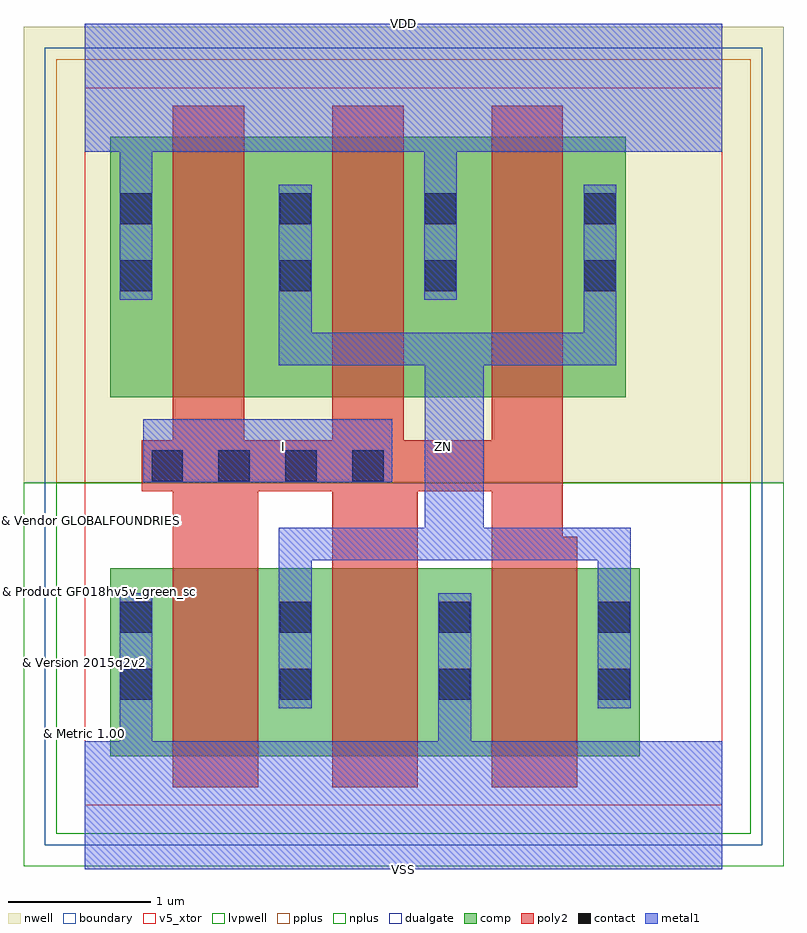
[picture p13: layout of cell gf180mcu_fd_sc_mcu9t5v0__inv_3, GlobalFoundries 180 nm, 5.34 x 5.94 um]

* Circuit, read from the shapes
.subckt gf180mcu_fd_sc_mcu9t5v0__inv_3 I VDD VSS ZN
XM1 ZN I VSS VSUBS nfet_05v0 w=1.32u l=0.6u m=3
XM2 ZN I VDD n1 pfet_05v0 w=1.83u l=0.5u m=3
.ends

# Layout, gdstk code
import gdstk
lib = gdstk.Library(unit=1e-6, precision=1e-09)
def R(c, l, rs):  # rectangles x0, y0, x1, y1
    for r in rs: c.add(gdstk.rectangle(r[:2], r[2:], *l))
def A(c, l, x, y, w, h, nx, ny, dx, dy):  # array of equal rectangles
    R(c, l, [(x+i*dx, y+j*dy, x+i*dx+w, y+j*dy+h) for i in range(nx) for j in range(ny)])
def P(c, l, *ps):  # polygons
    for p in ps: c.add(gdstk.Polygon(p, *l))
boundary = (0, 0)
nwell = (21, 0)
comp = (22, 0)
poly2 = (30, 0)
pplus = (31, 0)
nplus = (32, 0)
contact = (33, 0)
metal1 = (34, 0)
dualgate = (55, 0)
v5_xtor = (112, 1)
lvpwell = (204, 0)

gf180mcu_fd_sc_mcu9t5v0_ = lib.new_cell('gf180mcu_fd_sc_mcu9t5v0__inv_3')
R(gf180mcu_fd_sc_mcu9t5v0_, boundary, [(0,0,4.48,5.04)])
R(gf180mcu_fd_sc_mcu9t5v0_, nwell, [(-0.43,2.265,4.91,5.47)])
R(gf180mcu_fd_sc_mcu9t5v0_, comp, [(0.18,0.345,3.9,1.665), (0.18,2.865,3.8,4.695)])
P(gf180mcu_fd_sc_mcu9t5v0_, poly2, [(0.62,0.125),(0.62,2.205),(0.4,2.205),(0.4,2.565),(0.62,2.565),(0.62,4.915),(1.12,4.915),(1.12,2.565),(1.74,2.565),(1.74,4.915),(2.24,4.915),(2.24,2.565),(2.86,2.565),(2.86,4.915),(3.36,4.915),(3.36,1.885),(3.46,1.885),(3.46,0.125),(2.86,0.125),(2.86,2.205),(2.34,2.205),(2.34,0.125),(1.74,0.125),(1.74,2.205),(1.22,2.205),(1.22,0.125)])
R(gf180mcu_fd_sc_mcu9t5v0_, pplus, [(-0.2,2.265,4.68,5.24)])
R(gf180mcu_fd_sc_mcu9t5v0_, nplus, [(-0.2,-0.2,4.68,2.265)])
A(gf180mcu_fd_sc_mcu9t5v0_, contact, 0.25, 0.74, 0.22, 0.22, 4, 2, 1.12, 0.47)
A(gf180mcu_fd_sc_mcu9t5v0_, contact, 0.47, 2.275, 0.22, 0.22, 4, 1, 0.47, 0)
R(gf180mcu_fd_sc_mcu9t5v0_, contact, [(0.25,3.61,0.47,3.83), (1.37,3.61,1.59,3.83), (2.39,3.61,2.61,3.83), (3.51,3.61,3.73,3.83), (0.25,4.08,0.47,4.3), (1.37,4.08,1.59,4.3), (2.39,4.08,2.61,4.3), (3.51,4.08,3.73,4.3)])
R(gf180mcu_fd_sc_mcu9t5v0_, metal1, [(0.41,2.27,2.16,2.71)])
P(gf180mcu_fd_sc_mcu9t5v0_, metal1, [(1.365,0.68),(1.365,1.95),(2.39,1.95),(2.39,3.09),(1.365,3.09),(1.365,4.36),(1.595,4.36),(1.595,3.32),(3.505,3.32),(3.505,4.36),(3.735,4.36),(3.735,3.09),(2.805,3.09),(2.805,1.95),(3.835,1.95),(3.835,0.68),(3.605,0.68),(3.605,1.72),(1.595,1.72),(1.595,0.68)],
  [(0,-0.45),(0,0.45),(0.245,0.45),(0.245,1.49),(0.475,1.49),(0.475,0.45),(2.485,0.45),(2.485,1.49),(2.715,1.49),(2.715,0.45),(4.48,0.45),(4.48,-0.45)],
  [(0.245,3.55),(0.245,4.59),(0,4.59),(0,5.49),(4.48,5.49),(4.48,4.59),(2.615,4.59),(2.615,3.55),(2.385,3.55),(2.385,4.59),(0.475,4.59),(0.475,3.55)])
R(gf180mcu_fd_sc_mcu9t5v0_, dualgate, [(-0.28,-0.28,4.76,5.32)])
R(gf180mcu_fd_sc_mcu9t5v0_, v5_xtor, [(0,0,4.48,5.04)])
R(gf180mcu_fd_sc_mcu9t5v0_, lvpwell, [(-0.43,-0.43,4.91,2.265)])
gf180mcu_fd_sc_mcu9t5v0_.add(gdstk.Label('I', (1.4,2.52), layer=34, texttype=10))
gf180mcu_fd_sc_mcu9t5v0_.add(gdstk.Label('VDD', (2.24,5.49), layer=34, texttype=10))
gf180mcu_fd_sc_mcu9t5v0_.add(gdstk.Label('VSS', (2.24,-0.45), layer=34, texttype=10))
gf180mcu_fd_sc_mcu9t5v0_.add(gdstk.Label('ZN', (2.52,2.52), layer=34, texttype=10))
gf180mcu_fd_sc_mcu9t5v0_.add(gdstk.Label('& Vendor GLOBALFOUNDRIES', (0,2), layer=63, texttype=63))
gf180mcu_fd_sc_mcu9t5v0_.add(gdstk.Label('& Product GF018hv5v_green_sc9', (0,1.5), layer=63, texttype=63))
gf180mcu_fd_sc_mcu9t5v0_.add(gdstk.Label('& Version 2015q2v2', (0,1), layer=63, texttype=63))
gf180mcu_fd_sc_mcu9t5v0_.add(gdstk.Label('& Metric 1.00', (0,0.5), layer=63, texttype=63))

lib.write_gds('gf180mcu_fd_sc_mcu9t5v0__inv_3.gds')
